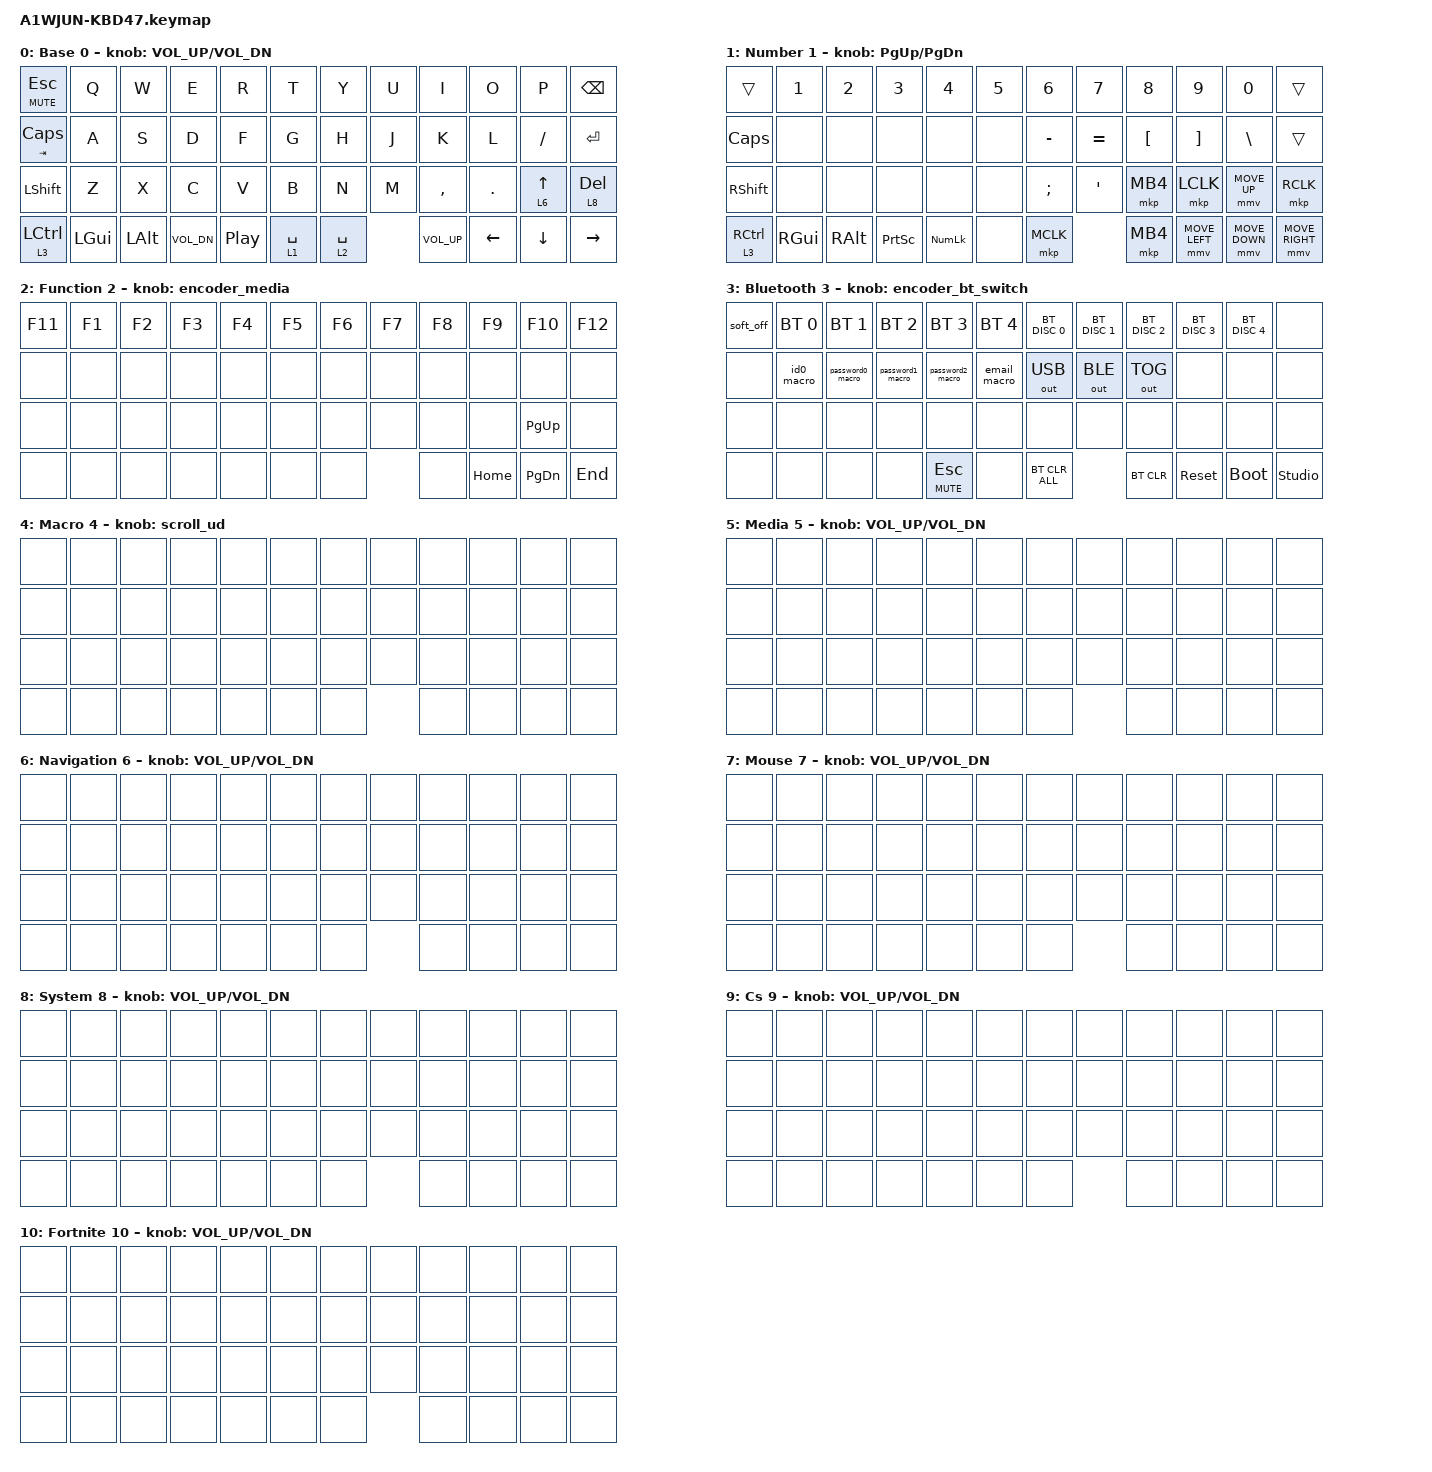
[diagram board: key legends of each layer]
#include <behaviors.dtsi>
#include <dt-bindings/zmk/keys.h>
#include <dt-bindings/zmk/bt.h>
#include <dt-bindings/zmk/outputs.h>
#include <dt-bindings/zmk/mouse.h>
#include <dt-bindings/zmk/behaviors.h>

// 鼠标移动与滚轮的默认速度值（覆盖默认的 600 10）
#undef ZMK_POINTING_DEFAULT_MOVE_VAL
#define ZMK_POINTING_DEFAULT_MOVE_VAL 1500
#undef ZMK_POINTING_DEFAULT_SCRL_VAL
#define ZMK_POINTING_DEFAULT_SCRL_VAL 120

#include <dt-bindings/zmk/pointing.h>

/*
 * 层索引定义（共32层，Layer10-Layer31 为预留扩展层）
 */
#define Base        0
#define Number      1
#define Function    2
#define Bluetooth   3
#define Macro       4
#define Media       5
#define Navigation  6
#define Mouse       7
#define System      8
#define Cs          9
#define Fortnite    10

/ {
    /*
     * ========================================
     * 行为 (Behaviors) 定义
     * ========================================
     */

    behaviors {
        /*
         * mod_tap (Mod-Tap 行为)
         */
        mt: mod_tap {
            compatible = "zmk,behavior-hold-tap";
            #binding-cells = <2>;
            flavor = "hold-preferred";        // hold-preferred: 计时期间按其他键即触发 hold，等价 QMK hold-on-other-key
            tapping-term-ms = <200>;
            bindings = <&kp>, <&kp>;
            display-name = "Mod-Tap";
        };

        /*
         * layer_tap (Layer-Tap 行为)
         */
        lt: layer_tap {
            compatible = "zmk,behavior-hold-tap";
            #binding-cells = <2>;
            flavor = "tap-preferred";
            tapping-term-ms = <200>;
            bindings = <&mo>, <&kp>;
            retro-tap;                         // 若最终判定为 hold 但无其他键按下，补发 tap（避免空格被吃）
            display-name = "Layer-Tap";
        };

        /*
         * tap_dance_esc (ESC Tap Dance)
         * 轻点 = ESC，按住 = C_MUTE（参数1=按住，参数2=轻点）
         */
        td_esc: tap_dance_esc {
            compatible = "zmk,behavior-hold-tap";
            #binding-cells = <2>;
            flavor = "tap-preferred";
            tapping-term-ms = <200>;
            bindings = <&kp>, <&kp>;
            display-name = "Tap Dance ESC";
        };

        /*
         * tap_dance_caps (CAPS Tap Dance)
         * 轻点 = CAPS，按住 = TAB（参数1=按住，参数2=轻点）
         */
        td_caps: tap_dance_caps {
            compatible = "zmk,behavior-hold-tap";
            #binding-cells = <2>;
            flavor = "tap-preferred";
            tapping-term-ms = <200>;
            bindings = <&kp>, <&kp>;
            display-name = "Tap Dance CAPS";
        };

        /*
         * scroll_ud (编码器滚动行为)
         */
        scroll_ud: behavior_scroll_ud {
            compatible = "zmk,behavior-sensor-rotate";
            #sensor-binding-cells = <0>;
            bindings = <&msc SCRL_DOWN>, <&msc SCRL_UP>;
            tap-ms = <20>;
        };

        /*
         * encoder_click_esc (编码器点击 - ESC功能)
         * 轻点 = ESC，按住 = C_MUTE（参数1=按住，参数2=轻点）
         */
        encoder_click_esc: encoder_click_esc {
            compatible = "zmk,behavior-hold-tap";
            #binding-cells = <2>;
            flavor = "tap-preferred";
            tapping-term-ms = <80>;
            bindings = <&kp>, <&kp>;
            display-name = "Encoder Click ESC";
        };

        /*
         * encoder_media (编码器媒体控制)
         */
        encoder_media: behavior_media {
            compatible = "zmk,behavior-sensor-rotate";
            #sensor-binding-cells = <0>;
            bindings = <&kp C_PREV>, <&kp C_NEXT>;
            tap-ms = <20>;
        };

        /*
         * encoder_bt_switch (编码器蓝牙切换)
         */
        encoder_bt_switch: behavior_bt_switch {
            compatible = "zmk,behavior-sensor-rotate";
            #sensor-binding-cells = <0>;
            bindings = <&bt BT_PRV>, <&bt BT_NXT>;
            tap-ms = <10>;                    // 优化：1→25，避免一圈触发几十次在 5 个 profile 间飞速切换
        };
    };

    /*
     * ========================================
     * 宏 (Macros) 定义
     * ========================================
     */
    macros {
        // 一键输入邮箱地址（实用宏示例）
        email_macro: email_macro {
            compatible = "zmk,behavior-macro";
            #binding-cells = <0>;
            bindings = <&kp A>, <&kp N1>, <&kp W>, <&kp I>, <&kp L>, <&kp L>, <&kp I>, <&kp A>, <&kp M>, <&kp DOT>, <&kp W>, <&kp A>, <&kp N>, <&kp G>, <&kp AT>, <&kp G>, <&kp M>, <&kp A>, <&kp I>, <&kp L>, <&kp DOT>, <&kp C>, <&kp O>, <&kp M>;
            wait-ms = <10>;
            tap-ms = <10>;
        };

        // 一键输入账号 id0
        id0_macro: id0_macro {
            compatible = "zmk,behavior-macro";
            #binding-cells = <0>;
            bindings = <&kp A>, <&kp N1>, <&kp W>, <&kp J>, <&kp U>, <&kp N>;
            wait-ms = <10>;
            tap-ms = <10>;
        };

        // 一键输入密码0前缀（剩余部分手动输入，防止完整密码入固件）
        password0_macro: password0_macro {
            compatible = "zmk,behavior-macro";
            #binding-cells = <0>;
            bindings = <&kp A>, <&kp S>, <&kp D>, <&kp N1>;
            wait-ms = <10>;
            tap-ms = <10>;
        };

        // 一键输入密码1前缀（剩余部分手动输入，防止完整密码入固件）
        password1_macro: password1_macro {
            compatible = "zmk,behavior-macro";
            #binding-cells = <0>;
            bindings = <&kp A>, <&kp N1>, <&kp W>, <&kp I>, <&kp L>, <&kp L>, <&kp I>, <&kp A>, <&kp M>;
            wait-ms = <10>;
            tap-ms = <10>;
        };

        // 一键输入密码2前缀（剩余部分手动输入，防止完整密码入固件）
        password2_macro: password2_macro {
            compatible = "zmk,behavior-macro";
            #binding-cells = <0>;
            bindings = <&kp A>, <&kp S>, <&kp D>, <&kp N8>;
            wait-ms = <10>;
            tap-ms = <10>;
        };
    };
};

/*
 * ========================================
 * 鼠标移动与滚轮加速配置 - 优化版
 * ========================================
 */

// 鼠标移动行为（指针移动）- 更快响应
&mmv {
    x-input-code = <INPUT_REL_X>;
    y-input-code = <INPUT_REL_Y>;
    time-to-max-speed-ms = <200>;          // 优化：300ms → 200ms（更快响应）
    acceleration-exponent = <1>;
    delay-ms = <0>;
};

// 鼠标滚轮行为
&msc {
    x-input-code = <INPUT_REL_HWHEEL>;
    y-input-code = <INPUT_REL_WHEEL>;
    time-to-max-speed-ms = <200>;          // 优化：300ms → 200ms
    acceleration-exponent = <1>;           // 优化：0→1，开启滚轮加速，长页面滚动更省力
    delay-ms = <0>;
};

// 软关机行为
&soft_off {
    hold-time-ms = <5000>;
};

/ {
    /*
     * ========================================
     * 按键映射 (Keymap)
     * ========================================
     */
    keymap {
        compatible = "zmk,keymap";

        /*
         * ========================================
         * 层 0：Base（基础层）- 最终优化版
         * ========================================
         *
         * 注意：display-name 最大 20 字符，只使用字母、数字、下划线
         */
        layer_base {
            display-name = "Base 0";
            bindings = <
                &td_esc C_MUTE ESC &kp Q       &kp W       &kp E       &kp R       &kp T       &kp Y       &kp U       &kp I       &kp O       &kp P       &kp BACKSPACE
                // 第 2 行（12 键）- CAPS 使用 Tap Dance
                &td_caps TAB CAPS   &kp A        &kp S        &kp D        &kp F        &kp G        &kp H        &kp J        &kp K        &kp L        &kp SLASH    &kp ENTER
                // 第 3 行（12 键）- DEL 激活 Navigation 层，↑ 激活 System 层
                &kp LSHFT          &kp Z        &kp X        &kp C        &kp V        &kp B        &kp N        &kp M        &kp COMMA    &kp DOT      &lt 6 UP     &lt 8 DEL
                // 第 4 行（11 键）- 右 Alt 激活 Symbols 层
                &lt 3 LCTRL        &kp LGUI     &kp LALT     &kp C_VOL_DN  &kp C_PP     &lt 1 SPACE  &lt 2 SPACE  &kp C_VOL_UP  &kp LEFT     &kp DOWN     &kp RIGHT
            >;
            sensor-bindings = <&inc_dec_kp C_VOL_UP C_VOL_DN>;
        };

        /*
         * ========================================
         * 层 1：Number（数字与符号层）- 优化布局
         * ========================================
         */
        layer_number {
            display-name = "Number 1";
            bindings = <
                // 第 1 行：数字行 + 滚轮上滚
                &trans        &kp N1         &kp N2         &kp N3         &kp N4         &kp N5         &kp N6         &kp N7         &kp N8         &kp N9         &kp N0        &trans
                // 第 2 行：符号优化布局（C_BRI_UP 已移除）
                &kp CAPS      &none          &none          &none          &none          &none          &kp MINUS      &kp EQUAL      &kp LBKT       &kp RBKT       &kp BSLH      &trans
                // 第 3 行：鼠标移动（C_BRI_DN 已移除）
                &kp RSHFT     &none          &none          &none          &none          &none          &kp SEMI       &kp APOS       &mkp MB4       &mkp LCLK      &mmv MOVE_UP  &mkp RCLK
                // 第 4 行：鼠标点击
                &lt 3 RCTRL   &kp RGUI       &kp RALT       &kp PSCRN      &kp KP_NUM     &none          &mkp MCLK      &mkp MB4       &mmv MOVE_LEFT &mmv MOVE_DOWN  &mmv MOVE_RIGHT
            >;
            sensor-bindings = <&inc_dec_kp PG_UP PG_DN>;  // 优化：原 encoder_brightness(C_BRI_DN/C_BRI_UP) 改为翻页
        };

        /*
         * ========================================
         * 层 2：Function（功能键层）
         * ========================================
         */
        layer_function {
            display-name = "Function 2";
            bindings = <
                // 第 1 行：F1-F12
                &kp F11         &kp F1         &kp F2         &kp F3         &kp F4         &kp F5         &kp F6         &kp F7         &kp F8         &kp F9         &kp F10        &kp F12
                // 第 2 行：空
                &none           &none          &none          &none          &none          &none          &none          &none          &none          &none          &none          &none
                // 第 3 行：导航键
                &none           &none          &none          &none          &none          &none          &none          &none          &none          &none          &kp PAGE_UP    &none
                // 第 4 行：导航键
                &none           &none          &none          &none          &none          &none          &none          &none          &kp HOME       &kp PAGE_DOWN   &kp END
            >;
            sensor-bindings = <&encoder_media>;
        };

        /*
         * ========================================
         * 层 3：Bluetooth（蓝牙层）
         * ========================================
         */
        layer_bluetooth {
            display-name = "Bluetooth 3";
            bindings = <
                // 第 1 行：软关机 + 蓝牙断开
                &soft_off       &bt BT_SEL 0   &bt BT_SEL 1   &bt BT_SEL 2   &bt BT_SEL 3   &bt BT_SEL 4   &bt BT_DISC 0  &bt BT_DISC 1  &bt BT_DISC 2  &bt BT_DISC 3  &bt BT_DISC 4  &none
                // 第 2 行：账号/密码宏 + 输出切换
                &none           &id0_macro     &password0_macro &password1_macro &password2_macro &email_macro &out OUT_USB   &out OUT_BLE   &out OUT_TOG   &none          &none          &none
                // 第 3 行：清除所有配对、系统复位、进入刷机模式、Studio 解锁
                &none           &none          &none          &none          &none          &none          &none          &none          &none          &none          &none          &none
                // 第 4 行：邮箱宏 + 编码器点击 + 蓝牙清除/复位
                &none           &none          &none          &none        &encoder_click_esc C_MUTE ESC &none &bt BT_CLR_ALL &bt BT_CLR    &sys_reset     &bootloader    &studio_unlock
            >;
            sensor-bindings = <&encoder_bt_switch>;
        };

        /*
         * ========================================
         * 层 4：Symbols（符号层）- 已激活
         * ========================================
         * 通过 Base 层右 Alt 按住激活
         */
        layer_macro {
            display-name = "Macro 4";
            bindings = <
                &none &none &none &none &none &none &none &none &none &none &none &none
                &none &none &none &none &none &none &none &none &none &none &none &none
                &none &none &none &none &none &none &none &none &none &none &none &none
                &none &none &none &none &none &none &none &none &none &none &none
            >;
            sensor-bindings = <&scroll_ud>;
        };

        /*
         * ========================================
         * 层 5：Media（媒体层）
         * ========================================
         */
        layer_media {
            display-name = "Media 5";
            bindings = <
                &none &none &none &none &none &none &none &none &none &none &none &none
                &none &none &none &none &none &none &none &none &none &none &none &none
                &none &none &none &none &none &none &none &none &none &none &none &none
                &none &none &none &none &none &none &none &none &none &none &none
            >;
            sensor-bindings = <&inc_dec_kp C_VOL_UP C_VOL_DN>;
        };

        /*
         * ========================================
         * 层 6：Navigation（导航层）- 已激活
         * ========================================
         * 通过 Base 层 DEL 按住激活
         */
        layer_navigation {
            display-name = "Navigation 6";
            bindings = <
                &none &none &none &none &none &none &none &none &none &none &none &none
                &none &none &none &none &none &none &none &none &none &none &none &none
                &none &none &none &none &none &none &none &none &none &none &none &none
                &none &none &none &none &none &none &none &none &none &none &none
            >;
            sensor-bindings = <&inc_dec_kp C_VOL_UP C_VOL_DN>;
        };

        /*
         * ========================================
         * 层 7：Mouse（鼠标层）
         * ========================================
         */
        layer_mouse {
            display-name = "Mouse 7";
            bindings = <
                &none &none &none &none &none &none &none &none &none &none &none &none
                &none &none &none &none &none &none &none &none &none &none &none &none
                &none &none &none &none &none &none &none &none &none &none &none &none
                &none &none &none &none &none &none &none &none &none &none &none
            >;
            sensor-bindings = <&inc_dec_kp C_VOL_UP C_VOL_DN>;
        };

        /*
         * ========================================
         * 层 8：System（系统层）- 已激活
         * ========================================
         * 通过 Base 层 ↑ 按住激活
         * 注意：devicetree 不支持 LGUI(x) 等嵌套修饰键语法
         * Windows 快捷键可通过 ZMK Studio 在线配置
         */
        layer_system {
            display-name = "System 8";
            bindings = <
                &none &none &none &none &none &none &none &none &none &none &none &none
                &none &none &none &none &none &none &none &none &none &none &none &none
                &none &none &none &none &none &none &none &none &none &none &none &none
                &none &none &none &none &none &none &none &none &none &none &none
            >;
            sensor-bindings = <&inc_dec_kp C_VOL_UP C_VOL_DN>;
        };

        /*
         * ========================================
         * 层 9：Cs（蓝牙与系统控制层）
         * ========================================
         */
        layer_cs {
            display-name = "Cs 9";
            bindings = <
                &none &none &none &none &none &none &none &none &none &none &none &none
                &none &none &none &none &none &none &none &none &none &none &none &none
                &none &none &none &none &none &none &none &none &none &none &none &none
                &none &none &none &none &none &none &none &none &none &none &none
            >;
            sensor-bindings = <&inc_dec_kp C_VOL_UP C_VOL_DN>;
        };

        /*
         * ========================================
         * 预留层 10-31（空层，供未来扩展或 ZMK Studio 动态配置）
         * ========================================
         */
        layer_fortnite {
            display-name = "Fortnite 10";
            bindings = <
                &none &none &none &none &none &none &none &none &none &none &none &none
                &none &none &none &none &none &none &none &none &none &none &none &none
                &none &none &none &none &none &none &none &none &none &none &none &none
                &none &none &none &none &none &none &none &none &none &none &none
            >;
            sensor-bindings = <&inc_dec_kp C_VOL_UP C_VOL_DN>;
        };
    };

    /*
     * ========================================
     * 组合键 (Combos)
     * ========================================
     *  0  1  2  3  4  5  6  7  8  9 10 11
     * 12 13 14 15 16 17 18 19 20 21 22 23
     * 24 25 26 27 28 29 30 31 32 33 34 35
     * 36 37 38 39 40 41 42 43 44 45 46
      */

    combos {
        compatible = "zmk,combos";

        // ===== 基础编辑组合键 =====
        // timeout 三档规则：50=纯字母快速组合 / 80=含修饰键组合 / 100=涉及 Tap Dance 键

        combo_esc {
            timeout-ms = <50>;
            key-positions = <1 2>;  // Q(1) + W(2) = ESC；50ms 档：纯快速组合
            bindings = <&kp ESC>;
            layers = <0>;
        };

        combo_print {
            timeout-ms = <50>;
            key-positions = <9 10>;  // O(9) + P(10) = Ctrl+P；50ms 档：纯快速组合
            bindings = <&kp LC(P)>;
            layers = <0>;
        };

        combo_select_all {
            timeout-ms = <100>;  // 100ms 档：涉及 Tap Dance 键（td_tab），需放宽以避免误出按键
            key-positions = <12 13>;  // td_tab(12) + A(13) = Ctrl+A；td_tab 是 Tap Dance，timeout 需放宽
            bindings = <&kp LC(A)>;
            layers = <0>;
        };

        combo_save {
            timeout-ms = <50>;
            key-positions = <13 14>;  // A(13) + S(14) = Ctrl+S
            bindings = <&kp LC(S)>;
            layers = <0>;
        };

        combo_find {
            timeout-ms = <80>;
            key-positions = <15 16>;  // LGUI(15) + LALT(16) = Ctrl+F（避免误触）
            bindings = <&kp LC(F)>;
            layers = <0>;
        };

        combo_goto {
            timeout-ms = <80>;
            key-positions = <16 17>;  // LGUI(16) + LALT(17) = Ctrl+G GoTo (Word/VSCode)
            bindings = <&kp LC(G)>;
            layers = <0>;
        };

        combo_undo {
            timeout-ms = <50>;
            key-positions = <24 25>;  // LSHFT(24) + Z(25) = Ctrl+Z；注意：LSHFT 按住时实际发 Ctrl+Shift+Z（多数软件为 redo）
            bindings = <&kp LC(Z)>;
            layers = <0>;
        };

        combo_cut {
            timeout-ms = <50>;
            key-positions = <25 26>;  // Z(25) + X(26) = Ctrl+X
            bindings = <&kp LC(X)>;
            layers = <0>;
        };

        combo_copy {
            timeout-ms = <50>;
            key-positions = <26 27>;  // X(26) + C(27) = Ctrl+C
            bindings = <&kp LC(C)>;
            layers = <0>;
        };

        combo_paste {
            timeout-ms = <50>;
            key-positions = <27 28>;  // C(27) + V(28) = Ctrl+V
            bindings = <&kp LC(V)>;
            layers = <0>;
        };

        combo_redo {
            timeout-ms = <50>;
            key-positions = <28 29>;  // V(28) + B(29) = Ctrl+Y
            bindings = <&kp LC(Y)>;
            layers = <0>;
        };

        // ===== 系统组合键 =====

        combo_lock {
            timeout-ms = <80>;
            key-positions = <36 37>;  // lt 3 LCTRL(36) + LGUI(37) = Win+L（避免误触）
            bindings = <&kp LG(L)>;
            layers = <0>;
        };

        combo_screenshot {
            timeout-ms = <80>;
            key-positions = <38 39>;  // LALT(38) + C_VOL_DN(39) = PrtSc（避免误触）
            bindings = <&kp PSCRN>;
            layers = <0>;
        };
    };
};
